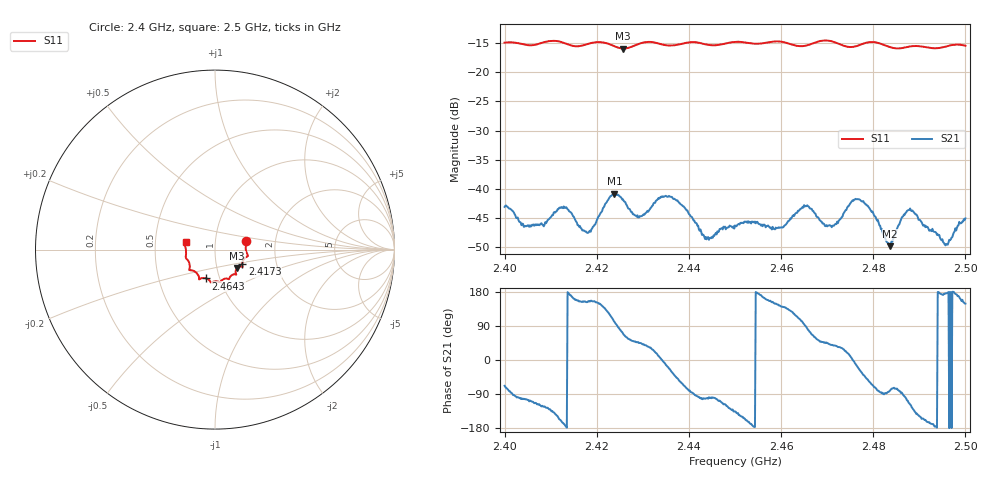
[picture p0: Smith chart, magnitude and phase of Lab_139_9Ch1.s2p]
# Hz S RI R 50
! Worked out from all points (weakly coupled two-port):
!   601 points, 2.4 GHz to 2.5 GHz, reference 50 ohm
!   highest |S21| = -40.86 dB at 2.4238 GHz (marker M1); lowest = -49.9 dB at 2.4837 GHz (marker M2)
!   lowest |S11| = -15.9 dB at 2.4257 GHz (marker M3), VSWR 1.38, Z = 62.5 - j13.2 ohm
!   |S11| at or under -10 dB: start of sweep to end of sweep
!   S12 and S22 are empty: the file has one direction only
!   S11 on the Smith chart (normalised r, x): 2.4 GHz: 1.41, +0.14; 2.4173 GHz: 1.34, -0.22; 2.4643 GHz: 0.86, -0.28; 2.5 GHz: 0.72, +0.06
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2.4e9  0.1735 0.0492  0.00258 -0.00647  0 0  0 0
2.404667e9  0.1715 0.0179  -0.00111 -0.00461  0 0  0 0
2.413e9  0.1738 -0.0413  -0.00673 -0.00116  0 0  0 0
2.416667e9  0.1527 -0.0742  -0.00408 0.00202  0 0  0 0
2.417333e9  0.1516 -0.0816  -0.0039 0.00185  0 0  0 0
2.423833e9  0.1391 -0.0946  -0.00172 0.00889  0 0  0 0
2.425667e9  0.1234 -0.1025  0.00269 0.00764  0 0  0 0
2.429167e9  0.1156 -0.1329  0.00402 0.00398  0 0  0 0
2.433333e9  0.1123 -0.1374  0.00811 0.00159  0 0  0 0
2.437333e9  0.0851 -0.1501  0.0054 -0.00577  0 0  0 0
2.443833e9  0.0646 -0.1612  -0.000687 -0.0036  0 0  0 0
2.45e9  0.0287 -0.181  -0.00345 -0.00337  0 0  0 0
2.460167e9  -0.0247 -0.1817  -0.00359 0.00296  0 0  0 0
2.464333e9  -0.0497 -0.1606  -0.00157 0.00654  0 0  0 0
2.466667e9  -0.0758 -0.1594  0.00254 0.00618  0 0  0 0
2.471167e9  -0.0878 -0.1622  0.00369 0.00307  0 0  0 0
2.477333e9  -0.13 -0.1154  0.00678 -0.00399  0 0  0 0
2.483333e9  -0.1405 -0.0896  0.000341 -0.00332  0 0  0 0
2.483667e9  -0.1409 -0.0859  0.000532 -0.00315  0 0  0 0
2.487667e9  -0.1582 -0.052  -0.00249 -0.00604  0 0  0 0
2.495667e9  -0.1659 0.0168  -0.00324 0.000228  0 0  0 0
2.5e9  -0.164 0.0429  -0.00475 0.00288  0 0  0 0
